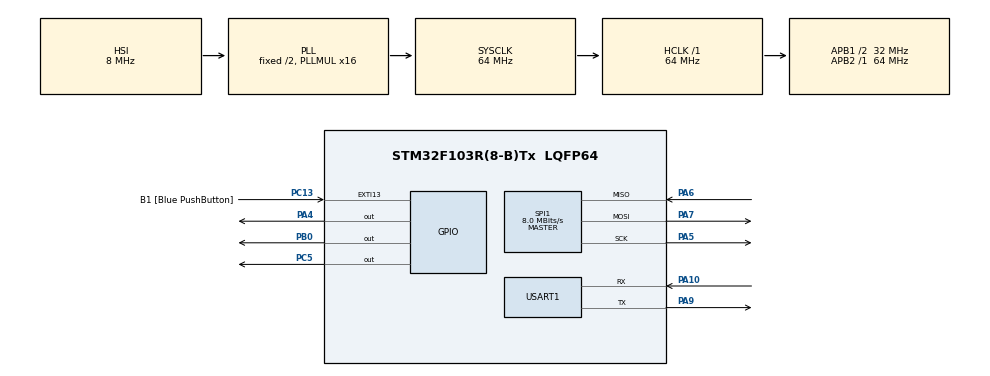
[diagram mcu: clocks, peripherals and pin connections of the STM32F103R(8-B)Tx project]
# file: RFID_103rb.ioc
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FREERTOS.Queues01=dataQueue,16,uint16_t,0,Dynamic,NULL,NULL
FREERTOS.Tasks01=waitingSignal,24,200,StartWaitingSignalTask,Default,NULL,Dynamic,NULL,NULL;readRFID,24,300,StartReadRFID,Default,NULL,Dynamic,NULL,NULL;sendDataH,8,300,StartSendData,Default,NULL,Dynamic,NULL,NULL
Mcu.Family=STM32F1
Mcu.Name=STM32F103R(8-B)Tx
Mcu.Package=LQFP64
NVIC.EXTI15_10_IRQn=true\:5\:0\:false\:false\:true\:true\:true\:true\:true
NVIC.PriorityGroup=NVIC_PRIORITYGROUP_4
PA10.Mode=Asynchronous
PA10.Signal=USART1_RX
PA13.GPIO_Label=TMS
PA13.Mode=Serial_Wire
PA13.Signal=SYS_JTMS-SWDIO
PA14.GPIO_Label=TCK
PA14.Mode=Serial_Wire
PA14.Signal=SYS_JTCK-SWCLK
PA2.GPIO_Label=USART_TX
PA2.GPIO_Mode=GPIO_MODE_AF_PP
PA2.GPIO_PuPd=GPIO_NOPULL
PA2.GPIO_Speed=GPIO_SPEED_FREQ_LOW
PA2.Signal=USART2_TX
PA3.GPIO_Label=USART_RX
PA3.GPIO_Mode=GPIO_MODE_AF_PP
PA3.GPIO_PuPd=GPIO_NOPULL
PA3.GPIO_Speed=GPIO_SPEED_FREQ_LOW
PA3.Signal=USART2_RX
PA4.Signal=GPIO_Output
PA5.Mode=Full_Duplex_Master
PA5.Signal=SPI1_SCK
PA6.Mode=Full_Duplex_Master
PA6.Signal=SPI1_MISO
PA7.Mode=Full_Duplex_Master
PA7.Signal=SPI1_MOSI
PA9.Mode=Asynchronous
PA9.Signal=USART1_TX
PB0.Signal=GPIO_Output
PB3.GPIO_Label=SWO
PB3.Signal=SYS_JTDO-TRACESWO
PC13-TAMPER-RTC.GPIO_Label=B1 [Blue PushButton]
PC13-TAMPER-RTC.GPIO_PuPd=GPIO_NOPULL
PC13-TAMPER-RTC.Signal=GPXTI13
PC14-OSC32_IN.Mode=LSE-External-Oscillator
PC14-OSC32_IN.Signal=RCC_OSC32_IN
PC15-OSC32_OUT.Mode=LSE-External-Oscillator
PC15-OSC32_OUT.Signal=RCC_OSC32_OUT
PC5.Signal=GPIO_Output
PD0-OSC_IN.Mode=HSE-External-Oscillator
PD0-OSC_IN.Signal=RCC_OSC_IN
PD1-OSC_OUT.Mode=HSE-External-Oscillator
PD1-OSC_OUT.Signal=RCC_OSC_OUT
ProjectManager.HeapSize=0x200
ProjectManager.StackSize=0x400
ProjectManager.TargetToolchain=STM32CubeIDE
RCC.AHBFreq_Value=64000000
RCC.APB1CLKDivider=RCC_HCLK_DIV2
RCC.APB1Freq_Value=32000000
RCC.APB1TimFreq_Value=64000000
RCC.APB2Freq_Value=64000000
RCC.APB2TimFreq_Value=64000000
RCC.HCLKFreq_Value=64000000
RCC.PLLMUL=RCC_PLL_MUL16
RCC.RTCClockSelection=RCC_RTCCLKSOURCE_LSE
RCC.SYSCLKFreq_VALUE=64000000
RCC.SYSCLKSource=RCC_SYSCLKSOURCE_PLLCLK
RCC.USBFreq_Value=64000000
SPI1.BaudRatePrescaler=SPI_BAUDRATEPRESCALER_8
SPI1.CalculateBaudRate=8.0 MBits/s
SPI1.Direction=SPI_DIRECTION_2LINES
SPI1.Mode=SPI_MODE_MASTER
SPI1.VirtualType=VM_MASTER
USART1.VirtualMode=VM_ASYNC
VP_FREERTOS_VS_CMSIS_V2.Mode=CMSIS_V2
board=NUCLEO-F103RB

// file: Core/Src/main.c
/* USER CODE BEGIN Header */
/**
  ******************************************************************************
  * @file           : main.c
  * @brief          : Main program body
  ******************************************************************************
  * @attention
  *
  * Copyright (c) 2024 STMicroelectronics.
  * All rights reserved.
  *
  * This software is licensed under terms that can be found in the LICENSE file
  * in the root directory of this software component.
  * If no LICENSE file comes with this software, it is provided AS-IS.
  *
  ******************************************************************************
  */
/* USER CODE END Header */
#include "main.h"
#include "cmsis_os.h"

/* USER CODE BEGIN Includes */
#include "rc522.h"
#include "string.h"
#include "FreeRTOS.h"
#include "task.h"
#include "user.h"
/* USER CODE END Includes */

SPI_HandleTypeDef hspi1;

UART_HandleTypeDef huart1;

/* Definitions for waitingSignal */
osThreadId_t waitingSignalHandle;
const osThreadAttr_t waitingSignal_attributes = {
  .name = "waitingSignal",
  .stack_size = 200 * 4,
  .priority = (osPriority_t) osPriorityNormal,
};
/* Definitions for readRFID */
osThreadId_t readRFIDHandle;
const osThreadAttr_t readRFID_attributes = {
  .name = "readRFID",
  .stack_size = 300 * 4,
  .priority = (osPriority_t) osPriorityNormal,
};
/* Definitions for sendDataH */
osThreadId_t sendDataHandle;
const osThreadAttr_t sendDataH_attributes = {
  .name = "sendDataH",
  .stack_size = 300 * 4,
  .priority = (osPriority_t) osPriorityLow,
};
/* Definitions for dataQueue */
osMessageQueueId_t dataQueueHandle;
const osMessageQueueAttr_t dataQueue_attributes = {
  .name = "dataQueue"
};
/* USER CODE BEGIN PV */
uint8_t status;
uint8_t str[MAX_LEN]; // MAX_LEN=16
uint8_t sNum[5];
h750Data boardData;
answerData answer;
/* USER CODE END PV */

void SystemClock_Config(void);
static void MX_GPIO_Init(void);
static void MX_SPI1_Init(void);
static void MX_USART1_UART_Init(void);
void StartWaitingSignalTask(void *argument);
void StartReadRFID(void *argument);
void StartSendData(void *argument);

int main(void)
{
  /* USER CODE BEGIN 1 */
	initializeUsers();
  /* USER CODE END 1 */

  /* MCU Configuration--------------------------------------------------------*/

  /* Reset of all peripherals, Initializes the Flash interface and the Systick. */
  HAL_Init();

  /* Configure the system clock */
  SystemClock_Config();

  /* Initialize all configured peripherals */
  MX_GPIO_Init();
  MX_SPI1_Init();
  MX_USART1_UART_Init();
  /* USER CODE BEGIN 2 */

  MFRC522_Init();
  /* USER CODE END 2 */

  /* Init scheduler */
  osKernelInitialize();

  /* Create the queue(s) */
  /* creation of dataQueue */
  dataQueueHandle = osMessageQueueNew (16, sizeof(uint16_t), &dataQueue_attributes);

  /* Create the thread(s) */
  /* creation of waitingSignal */
  waitingSignalHandle = osThreadNew(StartWaitingSignalTask, NULL, &waitingSignal_attributes);

  /* creation of readRFID */
  readRFIDHandle = osThreadNew(StartReadRFID, NULL, &readRFID_attributes);

  /* creation of sendDataH */
  sendDataHandle = osThreadNew(StartSendData, NULL, &sendDataH_attributes);

  /* Start scheduler */
  osKernelStart();

  /* We should never get here as control is now taken by the scheduler */
  /* Infinite loop */
  while (1)
  {

  }
}

void SystemClock_Config(void)
{
  RCC_OscInitTypeDef RCC_OscInitStruct = {0};
  RCC_ClkInitTypeDef RCC_ClkInitStruct = {0};

  /** Initializes the RCC Oscillators according to the specified parameters
  * in the RCC_OscInitTypeDef structure.
  */
  RCC_OscInitStruct.OscillatorType = RCC_OSCILLATORTYPE_HSI;
  RCC_OscInitStruct.HSIState = RCC_HSI_ON;
  RCC_OscInitStruct.HSICalibrationValue = RCC_HSICALIBRATION_DEFAULT;
  RCC_OscInitStruct.PLL.PLLState = RCC_PLL_ON;
  RCC_OscInitStruct.PLL.PLLSource = RCC_PLLSOURCE_HSI_DIV2;
  RCC_OscInitStruct.PLL.PLLMUL = RCC_PLL_MUL16;
  if (HAL_RCC_OscConfig(&RCC_OscInitStruct) != HAL_OK)
  {
    Error_Handler();
  }

  /** Initializes the CPU, AHB and APB buses clocks
  */
  RCC_ClkInitStruct.ClockType = RCC_CLOCKTYPE_HCLK|RCC_CLOCKTYPE_SYSCLK
                              |RCC_CLOCKTYPE_PCLK1|RCC_CLOCKTYPE_PCLK2;
  RCC_ClkInitStruct.SYSCLKSource = RCC_SYSCLKSOURCE_PLLCLK;
  RCC_ClkInitStruct.AHBCLKDivider = RCC_SYSCLK_DIV1;
  RCC_ClkInitStruct.APB1CLKDivider = RCC_HCLK_DIV2;
  RCC_ClkInitStruct.APB2CLKDivider = RCC_HCLK_DIV1;

  if (HAL_RCC_ClockConfig(&RCC_ClkInitStruct, FLASH_LATENCY_2) != HAL_OK)
  {
    Error_Handler();
  }
}

static void MX_SPI1_Init(void)
{

  /* SPI1 parameter configuration*/
  hspi1.Instance = SPI1;
  hspi1.Init.Mode = SPI_MODE_MASTER;
  hspi1.Init.Direction = SPI_DIRECTION_2LINES;
  hspi1.Init.DataSize = SPI_DATASIZE_8BIT;
  hspi1.Init.CLKPolarity = SPI_POLARITY_LOW;
  hspi1.Init.CLKPhase = SPI_PHASE_1EDGE;
  hspi1.Init.NSS = SPI_NSS_SOFT;
  hspi1.Init.BaudRatePrescaler = SPI_BAUDRATEPRESCALER_8;
  hspi1.Init.FirstBit = SPI_FIRSTBIT_MSB;
  hspi1.Init.TIMode = SPI_TIMODE_DISABLE;
  hspi1.Init.CRCCalculation = SPI_CRCCALCULATION_DISABLE;
  hspi1.Init.CRCPolynomial = 10;
  if (HAL_SPI_Init(&hspi1) != HAL_OK)
  {
    Error_Handler();
  }

}

static void MX_USART1_UART_Init(void)
{

  huart1.Instance = USART1;
  huart1.Init.BaudRate = 115200;
  huart1.Init.WordLength = UART_WORDLENGTH_8B;
  huart1.Init.StopBits = UART_STOPBITS_1;
  huart1.Init.Parity = UART_PARITY_NONE;
  huart1.Init.Mode = UART_MODE_TX_RX;
  huart1.Init.HwFlowCtl = UART_HWCONTROL_NONE;
  huart1.Init.OverSampling = UART_OVERSAMPLING_16;
  if (HAL_UART_Init(&huart1) != HAL_OK)
  {
    Error_Handler();
  }

}

static void MX_GPIO_Init(void)
{
  GPIO_InitTypeDef GPIO_InitStruct = {0};

  /* GPIO Ports Clock Enable */
  __HAL_RCC_GPIOC_CLK_ENABLE();
  __HAL_RCC_GPIOD_CLK_ENABLE();
  __HAL_RCC_GPIOA_CLK_ENABLE();
  __HAL_RCC_GPIOB_CLK_ENABLE();

  /*Configure GPIO pin Output Level */
  HAL_GPIO_WritePin(GPIOA, GPIO_PIN_4, GPIO_PIN_RESET);

  /*Configure GPIO pin Output Level */
  HAL_GPIO_WritePin(GPIOC, GPIO_PIN_5, GPIO_PIN_RESET);

  /*Configure GPIO pin Output Level */
  HAL_GPIO_WritePin(GPIOB, GPIO_PIN_0, GPIO_PIN_RESET);

  /*Configure GPIO pin : B1_Pin */
  GPIO_InitStruct.Pin = B1_Pin;
  GPIO_InitStruct.Mode = GPIO_MODE_IT_RISING;
  GPIO_InitStruct.Pull = GPIO_NOPULL;
  HAL_GPIO_Init(B1_GPIO_Port, &GPIO_InitStruct);

  /*Configure GPIO pins : USART_TX_Pin USART_RX_Pin */
  GPIO_InitStruct.Pin = USART_TX_Pin|USART_RX_Pin;
  GPIO_InitStruct.Mode = GPIO_MODE_AF_PP;
  GPIO_InitStruct.Speed = GPIO_SPEED_FREQ_LOW;
  HAL_GPIO_Init(GPIOA, &GPIO_InitStruct);

  /*Configure GPIO pin : PA4 */
  GPIO_InitStruct.Pin = GPIO_PIN_4;
  GPIO_InitStruct.Mode = GPIO_MODE_OUTPUT_PP;
  GPIO_InitStruct.Pull = GPIO_NOPULL;
  GPIO_InitStruct.Speed = GPIO_SPEED_FREQ_LOW;
  HAL_GPIO_Init(GPIOA, &GPIO_InitStruct);

  /*Configure GPIO pin : PC5 */
  GPIO_InitStruct.Pin = GPIO_PIN_5;
  GPIO_InitStruct.Mode = GPIO_MODE_OUTPUT_PP;
  GPIO_InitStruct.Pull = GPIO_NOPULL;
  GPIO_InitStruct.Speed = GPIO_SPEED_FREQ_LOW;
  HAL_GPIO_Init(GPIOC, &GPIO_InitStruct);

  /*Configure GPIO pin : PB0 */
  GPIO_InitStruct.Pin = GPIO_PIN_0;
  GPIO_InitStruct.Mode = GPIO_MODE_OUTPUT_PP;
  GPIO_InitStruct.Pull = GPIO_NOPULL;
  GPIO_InitStruct.Speed = GPIO_SPEED_FREQ_LOW;
  HAL_GPIO_Init(GPIOB, &GPIO_InitStruct);

  /* EXTI interrupt init*/
  HAL_NVIC_SetPriority(EXTI15_10_IRQn, 5, 0);
  HAL_NVIC_EnableIRQ(EXTI15_10_IRQn);

}

void StartWaitingSignalTask(void *argument)
{
  /* USER CODE BEGIN 5 */
	h750Data firstData;
  /* Infinite loop */
  for(;;)
  {
	  HAL_UART_Receive(&huart1, (uint8_t *)&firstData, sizeof(firstData), 100);
	  if(boardData.len>0){
		  osMessageQueuePut(dataQueueHandle, &firstData, 0, 0);
		  xTaskNotifyGive(readRFIDHandle);
		  ulTaskNotifyTake(pdTRUE,portMAX_DELAY);
	  }
    osDelay(1);
  }
  /* USER CODE END 5 */
}

void StartReadRFID(void *argument)
{
  /* USER CODE BEGIN StartReadRFID */
	h750Data bData;
	answerData ans;
  /* Infinite loop */
  for(;;)
  {
	  ulTaskNotifyTake(pdTRUE,portMAX_DELAY);

	  osMessageQueueGet(dataQueueHandle,&bData,0,0);

	  status = MFRC522_Request(PICC_REQIDL,str);
	  status = MFRC522_Anticoll(str);
	  memcpy(sNum,str,5);
	  HAL_Delay(100);

//	  h750Data data;
//	  osMessageQueueGet(dataQueueHandle, &data, 0, 0);
//	  answerData ans;
	  if(getBalance(sNum)<bData.totalPrice){
		  ans.flag=0;
		  ans.updatedFunds=getBalance(sNum);
	  }else{
		  updateUserBalance(sNum, 0-bData.totalPrice);
		  ans.flag=1;
		  ans.updatedFunds=getBalance(sNum);
	  }

	  osMessageQueuePut(dataQueueHandle, &ans, 0,0);
	  xTaskNotifyGive(sendDataHandle);
    osDelay(1);
  }
  /* USER CODE END StartReadRFID */
}

void StartSendData(void *argument)
{
  /* USER CODE BEGIN StartSendData */
	answerData finalAns;
  /* Infinite loop */
  for(;;)
  {
	  ulTaskNotifyTake(pdTRUE,portMAX_DELAY);

	  osMessageQueueGet(dataQueueHandle, &finalAns, 0, 0);

	  //xQueueReceive(dataQueueHandle, &data,0);

	  HAL_UART_Transmit(&huart1, (uint8_t *)&finalAns, sizeof(finalAns),100);

	  xTaskNotifyGive(waitingSignalHandle);
    osDelay(1);
  }
  /* USER CODE END StartSendData */
}

void Error_Handler(void)
{
  __disable_irq();
  while (1)
  {
  }
}
